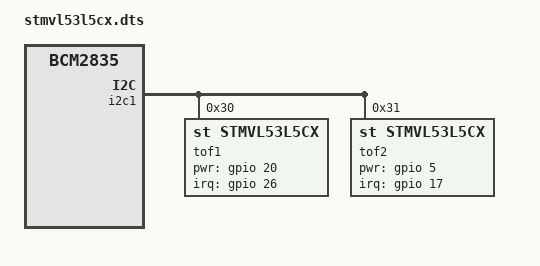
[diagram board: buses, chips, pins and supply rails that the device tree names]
/dts-v1/;
/plugin/;

/ {
    compatible = "brcm,bcm2835";

    fragment@0 {
        target = <&i2c1>;

        __overlay__ {
            status = "okay";
            #address-cells = <1>;
            #size-cells = <0>;

            tof1: stmvl53l5cx@30 {          // label: node-name@I2C-address
                compatible = "st,stmvl53l5cx";
                dev_num = <0x01>;           // Device number (of your choice)
                reg = <0x30>;               // I2C address
                pwr-gpios = <&gpio 20 32>;  // LPn GPIO, GPIO20, pin mode 32 = Pulldown
                irq-gpios = <&gpio 26 2>;   // Int GPIO, GPIO26, pin mode 2
                status = "okay";
            };
        };
    };

    fragment@1 {
        target = <&i2c1>;

        __overlay__ {
            status = "okay";
            #address-cells = <1>;
            #size-cells = <0>;
            tof2: stmvl53l5cx@31 {  
                compatible = "st,stmvl53l5cx";
                dev_num = <0x02>;   
                reg = <0x31>;       
                pwr-gpios = <&gpio 5  32>; 
                irq-gpios = <&gpio 17 2>;  
                status = "okay";
            };
        };
    };
};


